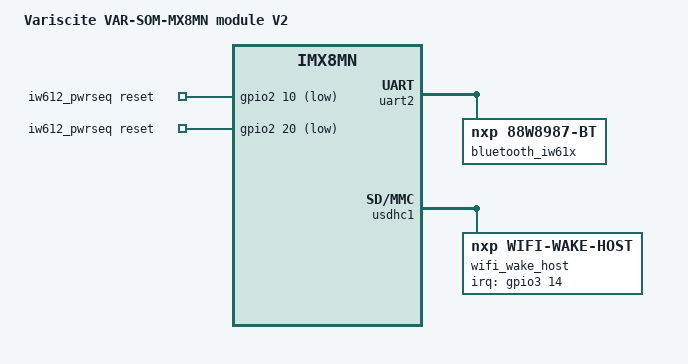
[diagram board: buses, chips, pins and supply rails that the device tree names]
// SPDX-License-Identifier: (GPL-2.0+ OR MIT)
/*
 * Device tree overlay to support the VAR-SOM-MX8M-NANO V2
 * Copyright 2025 Variscite Ltd.
 * Copyright 2025 Johanna Schander <git@mimoja.de>
 */

/dts-v1/;

#include "imx8mn-var-som-meticulous.dts"
#include <dt-bindings/gpio/gpio.h>
#include <dt-bindings/interrupt-controller/irq.h>
#include "imx8mn-pinfunc.h"

/ {
	model = "Variscite VAR-SOM-MX8MN module V2";
	compatible = "variscite,var-som-mx8mn", "fsl,imx8mn";

	iw612_pwrseq: iw612_pwrseq {
		compatible = "mmc-pwrseq-simple";
		post-power-on-delay-ms = <100>;
		power-off-delay-us = <10000>;
		reset-gpios = <&gpio2 10 GPIO_ACTIVE_LOW>,	/* WIFI_RESET */
			          <&gpio2 20 GPIO_ACTIVE_LOW>;	/* WIFI_PWR_EN */
		status = "okay";
	};

};

/* Bluetooth */
&uart2 {
	status = "okay";
	uart-has-rtscts;
	bluetooth_iw61x: bluetooth_iw61x {
		compatible = "nxp,88w8987-bt";
		fw-init-baudrate = <3000000>;
		status = "okay";
	};
};


/* WIFI */
&usdhc1 {
	pinctrl-0 = <&pinctrl_usdhc1>, <&pinctrl_wifi_host_wake>;
	pinctrl-1 = <&pinctrl_usdhc1_100mhz>, <&pinctrl_wifi_host_wake>;
	pinctrl-2 = <&pinctrl_usdhc1_200mhz>, <&pinctrl_wifi_host_wake>;
	mmc-pwrseq = <&iw612_pwrseq>;

	status = "okay";

	// Delete the brcmf node as V2 uses the iw612 driver
	/delete-node/ brcmf;

	/*
	 * WIFI_HOST_WAKE: the IW612 pulls it low to wake the SoC from suspend
	 * (WoWLAN). moal looks this node up and arms it as a wake-up IRQ.
	 */
	wifi_wake_host {
		compatible = "nxp,wifi-wake-host";
		interrupt-parent = <&gpio3>;
		interrupts = <14 IRQ_TYPE_LEVEL_LOW>;
		interrupt-names = "host-wake";
	};
};

&iomuxc {
	pinctrl_wifi_host_wake: wifihostwakegrp {
		fsl,pins = <
			MX8MN_IOMUXC_NAND_DQS_GPIO3_IO14	0x1c0
		>;
	};
};


// FIXME: The mxl8611x is not yet supported upstream, so we dont configure it at this point.
&ethphy {
	reset-deassert-us = <100000>;
};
